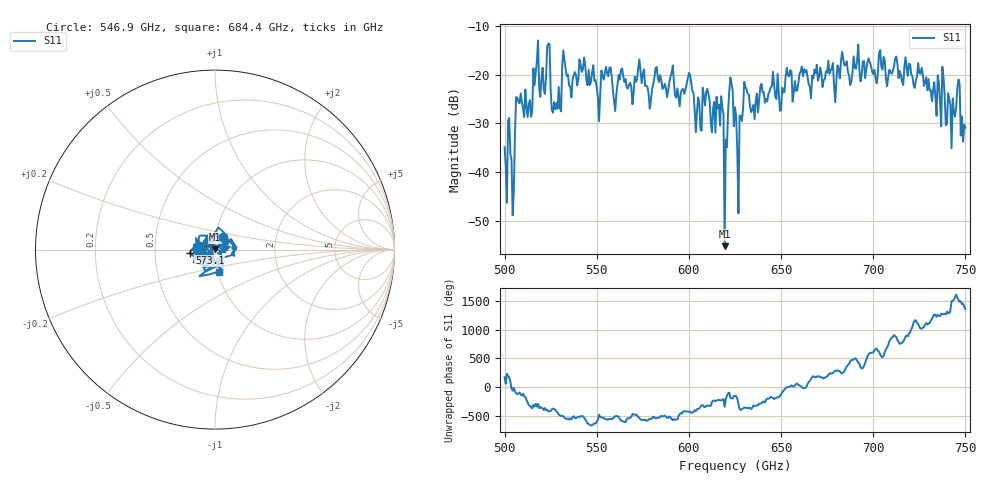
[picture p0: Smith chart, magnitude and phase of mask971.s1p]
!Created with skrf (http://scikit-rf.org).
# GHz S MA R 50.0
!freq magS11 angS11
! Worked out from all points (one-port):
!   401 points, 500 GHz to 750 GHz, reference 50 ohm
!   lowest |S11| = -55.2 dB at 619.4 GHz (marker M1), VSWR 1.00, Z = 50.2 + j0.0652 ohm
!   |S11| at or under -10 dB: start of sweep to end of sweep
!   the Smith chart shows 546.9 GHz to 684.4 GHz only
!   S11 on the Smith chart (normalised r, x): 546.9 GHz: 1.08, +0.16; 573.1 GHz: 0.75, -0.03; 684.4 GHz: 1.02, -0.25
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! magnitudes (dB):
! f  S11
! 500 GHz  -34.9
! 504.4 GHz  -48.8
! 507.5 GHz  -25.6
! 513.8 GHz  -25.2
! 516.9 GHz  -19.6
! 520.6 GHz  -18.6
! 523.8 GHz  -13.6
! 526.9 GHz  -25.6
! 531.2 GHz  -18.1
! 546.9 GHz  -21.5
! 562.5 GHz  -21.0
! 573.1 GHz  -16.9
! 593.8 GHz  -22.8
! 600 GHz  -19.7
! 616.2 GHz  -26.2
! 619.4 GHz  -55.2
! 622.5 GHz  -20.6
! 625 GHz  -26.7
! 627.5 GHz  -28.4
! 631.2 GHz  -23.0
! 634.4 GHz  -27.2
! 656.2 GHz  -25.6
! 684.4 GHz  -18.1
! 687.5 GHz  -22.1
! 718.8 GHz  -20.2
! 743.1 GHz  -24.9
! 745.6 GHz  -22.8
! 750 GHz  -30.9
